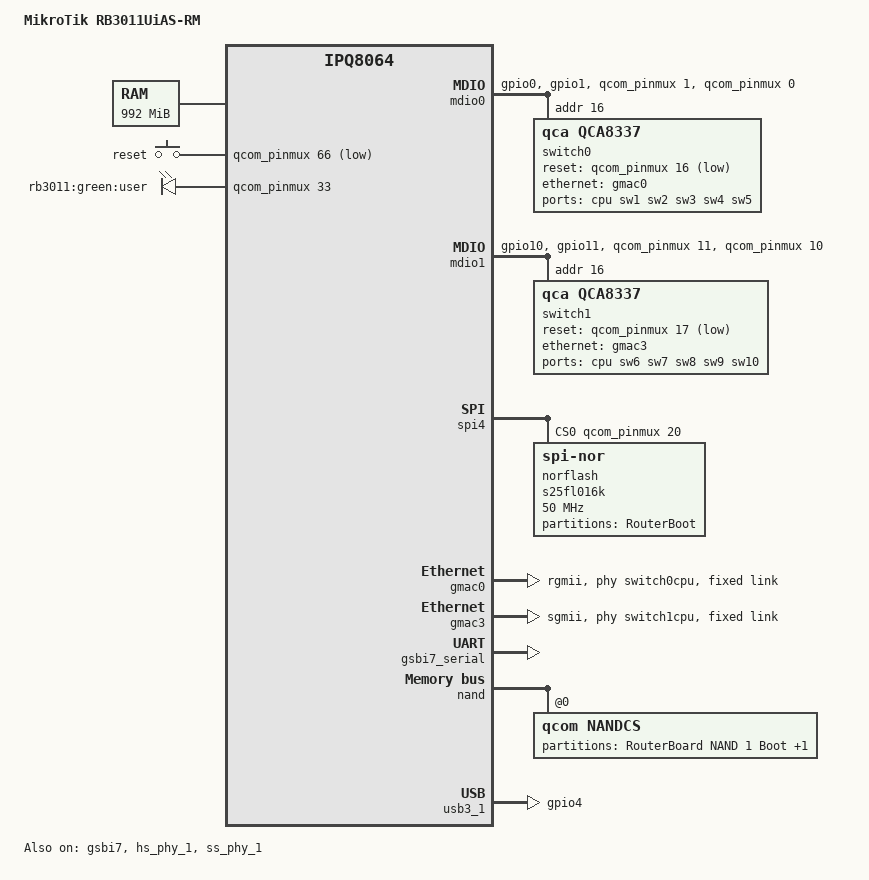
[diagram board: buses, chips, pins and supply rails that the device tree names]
// SPDX-License-Identifier: GPL-2.0
#include "qcom-ipq8064.dtsi"
#include <dt-bindings/input/input.h>

/ {
	model = "MikroTik RB3011UiAS-RM";
	compatible = "mikrotik,rb3011";

	aliases {
		serial0 = &gsbi7_serial;
		ethernet0 = &gmac0;
		ethernet1 = &gmac3;
		mdio-gpio0 = &mdio0;
		mdio-gpio1 = &mdio1;
	};

	chosen {
		bootargs = "loglevel=8 console=ttyMSM0,115200";
		stdout-path = "serial0:115200n8";
	};

	memory@0 {
		reg = <0x42000000 0x3e000000>;
		device_type = "memory";
	};

	mdio0: mdio@0 {
		status = "okay";
		compatible = "virtual,mdio-gpio";
		gpios = <&qcom_pinmux 1 GPIO_ACTIVE_HIGH>,
			<&qcom_pinmux 0 GPIO_ACTIVE_HIGH>;
		#address-cells = <1>;
		#size-cells = <0>;

		pinctrl-0 = <&mdio0_pins>;
		pinctrl-names = "default";

		switch0: switch@10 {
			compatible = "qca,qca8337";
			#address-cells = <1>;
			#size-cells = <0>;

			dsa,member = <0 0>;

			pinctrl-0 = <&sw0_reset_pin>;
			pinctrl-names = "default";

			reset-gpios = <&qcom_pinmux 16 GPIO_ACTIVE_LOW>;
			reg = <0x10>;

			ports {
				#address-cells = <1>;
				#size-cells = <0>;

				switch0cpu: port@0 {
					reg = <0>;
					label = "cpu";
					ethernet = <&gmac0>;
					phy-mode = "rgmii-id";
					fixed-link {
						speed = <1000>;
						full-duplex;
					};
				};

				port@1 {
					reg = <1>;
					label = "sw1";
				};

				port@2 {
					reg = <2>;
					label = "sw2";
				};

				port@3 {
					reg = <3>;
					label = "sw3";
				};

				port@4 {
					reg = <4>;
					label = "sw4";
				};

				port@5 {
					reg = <5>;
					label = "sw5";
				};
			};
		};
	};

	mdio1: mdio@1 {
		status = "okay";
		compatible = "virtual,mdio-gpio";
		gpios = <&qcom_pinmux 11 GPIO_ACTIVE_HIGH>,
			<&qcom_pinmux 10 GPIO_ACTIVE_HIGH>;
		#address-cells = <1>;
		#size-cells = <0>;

		pinctrl-0 = <&mdio1_pins>;
		pinctrl-names = "default";

		switch1: switch@14 {
			compatible = "qca,qca8337";
			#address-cells = <1>;
			#size-cells = <0>;

			dsa,member = <1 0>;

			pinctrl-0 = <&sw1_reset_pin>;
			pinctrl-names = "default";

			reset-gpios = <&qcom_pinmux 17 GPIO_ACTIVE_LOW>;
			reg = <0x10>;

			ports {
				#address-cells = <1>;
				#size-cells = <0>;

				switch1cpu: port@0 {
					reg = <0>;
					label = "cpu";
					ethernet = <&gmac3>;
					phy-mode = "sgmii";
					fixed-link {
						speed = <1000>;
						full-duplex;
					};
				};

				port@1 {
					reg = <1>;
					label = "sw6";
				};

				port@2 {
					reg = <2>;
					label = "sw7";
				};

				port@3 {
					reg = <3>;
					label = "sw8";
				};

				port@4 {
					reg = <4>;
					label = "sw9";
				};

				port@5 {
					reg = <5>;
					label = "sw10";
				};
			};
		};
	};

	soc {
		gsbi5: gsbi@1a200000 {
			qcom,mode = <GSBI_PROT_SPI>;
			status = "okay";

			spi4: spi@1a280000 {
				status = "okay";
				spi-max-frequency = <50000000>;

				pinctrl-0 = <&spi_pins>;
				pinctrl-names = "default";

				cs-gpios = <&qcom_pinmux 20 GPIO_ACTIVE_HIGH>;

				norflash: s25fl016k@0 {
					compatible = "jedec,spi-nor";
					#address-cells = <1>;
					#size-cells = <1>;
					spi-max-frequency = <50000000>;
					reg = <0>;

					partition@0 {
						label = "RouterBoot";
						reg = <0x0 0x40000>;
					};
				};
			};
		};

		gpio_keys {
			compatible = "gpio-keys";
			pinctrl-0 = <&buttons_pins>;
			pinctrl-names = "default";

			button@1 {
				label = "reset";
				linux,code = <KEY_RESTART>;
				gpios = <&qcom_pinmux 66 GPIO_ACTIVE_LOW>;
				linux,input-type = <1>;
				debounce-interval = <60>;
			};
		};

		leds {
			compatible = "gpio-leds";
			pinctrl-0 = <&leds_pins>;
			pinctrl-names = "default";

			led@7 {
				label = "rb3011:green:user";
				gpios = <&qcom_pinmux 33 GPIO_ACTIVE_HIGH>;
				default-state = "off";
			};
		};

	};
};

&adm_dma {
	status = "okay";
};

&gmac0 {
	status = "okay";

	phy-mode = "rgmii";
	qcom,id = <0>;
	phy-handle = <&switch0cpu>;

	fixed-link {
		speed = <1000>;
		full-duplex;
	};
};

&gmac3 {
	status = "okay";

	phy-mode = "sgmii";
	qcom,id = <3>;
	phy-handle = <&switch1cpu>;

	fixed-link {
		speed = <1000>;
		full-duplex;
	};
};

&gsbi7 {
	status = "okay";
	qcom,mode = <GSBI_PROT_I2C_UART>;
};

&gsbi7_serial {
	status = "okay";
};

&hs_phy_1 {
	status = "okay";
};

&nand {
	status = "okay";

	nandcs@0 {
		compatible = "qcom,nandcs";
		reg = <0>;

		nand-ecc-strength = <4>;
		nand-bus-width = <8>;
		nand-ecc-step-size = <512>;

		partitions {
			compatible = "fixed-partitions";
			#address-cells = <1>;
			#size-cells = <1>;

			boot@0 {
				label = "RouterBoard NAND 1 Boot";
				reg = <0x0000000 0x0800000>;
			};

			main@800000 {
				label = "RouterBoard NAND 1 Main";
				reg = <0x0800000 0x7800000>;
			};
		};
	};
};

&qcom_pinmux {
	buttons_pins: buttons_pins {
		mux {
			pins = "gpio66";
			drive-strength = <16>;
			bias-disable;
		};
	};

	leds_pins: leds_pins {
		mux {
			pins = "gpio33";
			drive-strength = <16>;
			bias-disable;
		};
	};

	mdio0_pins: mdio0_pins {
		mux {
			pins = "gpio0", "gpio1";
			function = "gpio";
			drive-strength = <8>;
			bias-disable;
		};
	};

	mdio1_pins: mdio1_pins {
		mux {
			pins = "gpio10", "gpio11";
			function = "gpio";
			drive-strength = <8>;
			bias-disable;
		};
	};

	sw0_reset_pin: sw0_reset_pin {
		mux {
			pins = "gpio16";
			drive-strength = <16>;
			function = "gpio";
			bias-disable;
			input-disable;
		};
	};

	sw1_reset_pin: sw1_reset_pin {
		mux {
			pins = "gpio17";
			drive-strength = <16>;
			function = "gpio";
			bias-disable;
			input-disable;
		};
	};

	usb1_pwr_en_pins: usb1_pwr_en_pins {
		mux {
			pins = "gpio4";
			function = "gpio";
			drive-strength = <16>;
			bias-disable;
			output-high;
		};
	};
};

&ss_phy_1 {
	status = "okay";
};

&usb3_1 {
	pinctrl-0 = <&usb1_pwr_en_pins>;
	pinctrl-names = "default";

	status = "okay";
};
